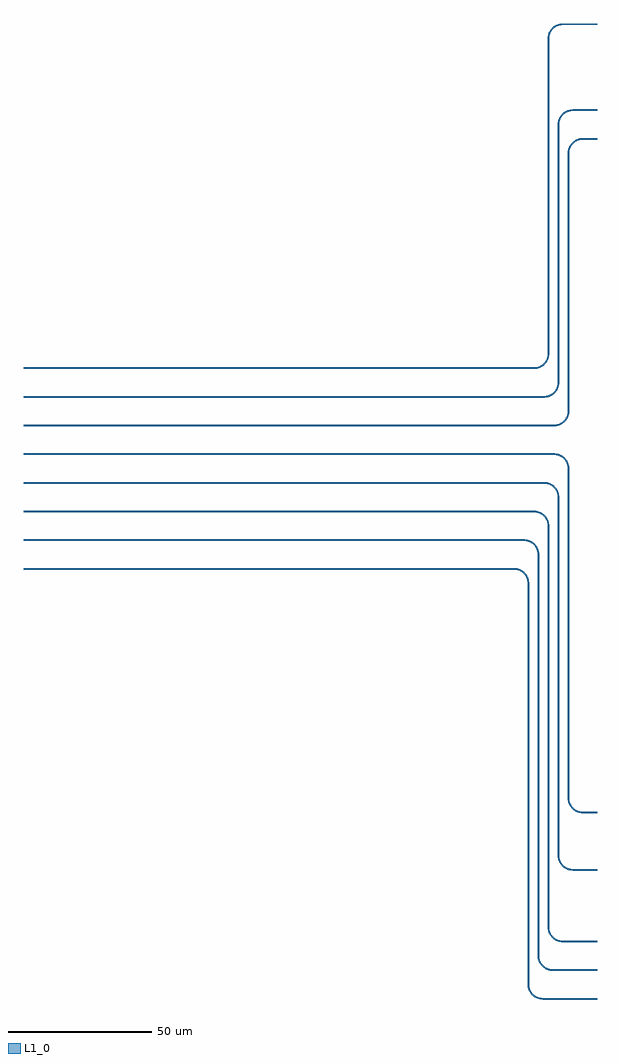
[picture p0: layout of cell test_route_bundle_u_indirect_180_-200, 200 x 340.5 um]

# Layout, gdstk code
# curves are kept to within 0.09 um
from math import pi, radians
import gdstk
lib = gdstk.Library(unit=1e-6, precision=1e-09)
def R(c, l, rs):  # rectangles x0, y0, x1, y1
    for r in rs: c.add(gdstk.rectangle(r[:2], r[2:], *l))
def P(c, l, *ps):  # polygons
    for p in ps: c.add(gdstk.Polygon(p, *l))
L1_0 = (1, 0)

bend_circular_gdsfactory = lib.new_cell('bend_circular_gdsfactorypcomponentspbendspbend_circular_0c9d0621')
P(bend_circular_gdsfactory, L1_0, [(0,-0.25),(0,0.25),(0.988,0.354),(1.932,0.661),(2.587,1.016),(3.359,1.641),(3.984,2.413),(4.339,3.068),(4.646,4.012),(4.75,5),(5.25,5),(5.135,3.908),(4.796,2.865),(4.247,1.914),(3.712,1.288),(3.086,0.753),(2.135,0.204),(1.092,-0.135)])

straight_gdsfactorypcomp = lib.new_cell('straight_gdsfactorypcomponentspwaveguidespstraight_L19__04b0d241')
R(straight_gdsfactorypcomp, L1_0, [(0,-0.25,19,0.25)])

c_straight_gdsfactorypcomp = lib.new_cell('straight_gdsfactorypcomponentspwaveguidespstraight_L140_d1a5e935')
R(c_straight_gdsfactorypcomp, L1_0, [(0,-0.25,140,0.25)])

c_straight_gdsfactorypcomp_ = lib.new_cell('straight_gdsfactorypcomponentspwaveguidespstraight_L171_7ff60cda')
R(c_straight_gdsfactorypcomp_, L1_0, [(0,-0.25,171,0.25)])

c_straight_gdsfactorypcomp__ = lib.new_cell('straight_gdsfactorypcomponentspwaveguidespstraight_L15p_a1f03c60')
R(c_straight_gdsfactorypcomp__, L1_0, [(0,-0.25,15.5,0.25)])

c_straight_gdsfactorypcomp___ = lib.new_cell('straight_gdsfactorypcomponentspwaveguidespstraight_L174_08ec315f')
R(c_straight_gdsfactorypcomp___, L1_0, [(0,-0.25,174.5,0.25)])

c_straight_gdsfactorypcomp____ = lib.new_cell('straight_gdsfactorypcomponentspwaveguidespstraight_L12__f3e780f9')
R(c_straight_gdsfactorypcomp____, L1_0, [(0,-0.25,12,0.25)])

c_straight_gdsfactorypcomp_____ = lib.new_cell('straight_gdsfactorypcomponentspwaveguidespstraight_L178_c123498b')
R(c_straight_gdsfactorypcomp_____, L1_0, [(0,-0.25,178,0.25)])

c_straight_gdsfactorypcomp______ = lib.new_cell('straight_gdsfactorypcomponentspwaveguidespstraight_L8p5_29adfe89')
R(c_straight_gdsfactorypcomp______, L1_0, [(0,-0.25,8.5,0.25)])

c_straight_gdsfactorypcomp_______ = lib.new_cell('straight_gdsfactorypcomponentspwaveguidespstraight_L125_ee2f1246')
R(c_straight_gdsfactorypcomp_______, L1_0, [(0,-0.25,125,0.25)])

c_straight_gdsfactorypcomp________ = lib.new_cell('straight_gdsfactorypcomponentspwaveguidespstraight_L181_3462eef6')
R(c_straight_gdsfactorypcomp________, L1_0, [(0,-0.25,181.5,0.25)])

c_straight_gdsfactorypcomp_________ = lib.new_cell('straight_gdsfactorypcomponentspwaveguidespstraight_L5_N_f5657628')
R(c_straight_gdsfactorypcomp_________, L1_0, [(0,-0.25,5,0.25)])

c_straight_gdsfactorypcomp__________ = lib.new_cell('straight_gdsfactorypcomponentspwaveguidespstraight_L115_c5585eed')
R(c_straight_gdsfactorypcomp__________, L1_0, [(0,-0.25,115,0.25)])

c_straight_gdsfactorypcomp___________ = lib.new_cell('straight_gdsfactorypcomponentspwaveguidespstraight_L185_0d204b83')
R(c_straight_gdsfactorypcomp___________, L1_0, [(0,-0.25,185,0.25)])

c_straight_gdsfactorypcomp____________ = lib.new_cell('straight_gdsfactorypcomponentspwaveguidespstraight_L90__0507d5f5')
R(c_straight_gdsfactorypcomp____________, L1_0, [(0,-0.25,90,0.25)])

c_straight_gdsfactorypcomp_____________ = lib.new_cell('straight_gdsfactorypcomponentspwaveguidespstraight_L110_85067713')
R(c_straight_gdsfactorypcomp_____________, L1_0, [(0,-0.25,110,0.25)])

test_route_bundle_u_indi = lib.new_cell('test_route_bundle_u_indirect_180_-200')
test_route_bundle_u_indi.add(gdstk.Reference(bend_circular_gdsfactory, (-24,-95), rotation=3*pi/2))
test_route_bundle_u_indi.add(gdstk.Reference(straight_gdsfactorypcomp, (0,-100), rotation=pi))
test_route_bundle_u_indi.add(gdstk.Reference(bend_circular_gdsfactory, (-29,50), x_reflection=True))
test_route_bundle_u_indi.add(gdstk.Reference(c_straight_gdsfactorypcomp, (-24,-95), rotation=pi/2))
test_route_bundle_u_indi.add(gdstk.Reference(c_straight_gdsfactorypcomp_, (-29,50), rotation=pi))
test_route_bundle_u_indi.add(gdstk.Reference(bend_circular_gdsfactory, (-20.5,-85), rotation=3*pi/2))
test_route_bundle_u_indi.add(gdstk.Reference(c_straight_gdsfactorypcomp__, (0,-90), rotation=pi))
test_route_bundle_u_indi.add(gdstk.Reference(bend_circular_gdsfactory, (-25.5,60), x_reflection=True))
test_route_bundle_u_indi.add(gdstk.Reference(c_straight_gdsfactorypcomp, (-20.5,-85), rotation=pi/2))
test_route_bundle_u_indi.add(gdstk.Reference(c_straight_gdsfactorypcomp___, (-25.5,60), rotation=pi))
test_route_bundle_u_indi.add(gdstk.Reference(bend_circular_gdsfactory, (-17,-75), rotation=3*pi/2))
test_route_bundle_u_indi.add(gdstk.Reference(c_straight_gdsfactorypcomp____, (0,-80), rotation=pi))
test_route_bundle_u_indi.add(gdstk.Reference(bend_circular_gdsfactory, (-22,70), x_reflection=True))
test_route_bundle_u_indi.add(gdstk.Reference(c_straight_gdsfactorypcomp, (-17,-75), rotation=pi/2))
test_route_bundle_u_indi.add(gdstk.Reference(c_straight_gdsfactorypcomp_____, (-22,70), rotation=pi))
test_route_bundle_u_indi.add(gdstk.Reference(bend_circular_gdsfactory, (-13.5,-50), rotation=3*pi/2))
test_route_bundle_u_indi.add(gdstk.Reference(c_straight_gdsfactorypcomp______, (0,-55), rotation=pi))
test_route_bundle_u_indi.add(gdstk.Reference(bend_circular_gdsfactory, (-18.5,80), x_reflection=True))
test_route_bundle_u_indi.add(gdstk.Reference(c_straight_gdsfactorypcomp_______, (-13.5,-50), rotation=pi/2))
test_route_bundle_u_indi.add(gdstk.Reference(c_straight_gdsfactorypcomp________, (-18.5,80), rotation=pi))
test_route_bundle_u_indi.add(gdstk.Reference(bend_circular_gdsfactory, (-10,-30), rotation=3*pi/2))
test_route_bundle_u_indi.add(gdstk.Reference(c_straight_gdsfactorypcomp_________, (0,-35), rotation=pi))
test_route_bundle_u_indi.add(gdstk.Reference(bend_circular_gdsfactory, (-15,90), x_reflection=True))
test_route_bundle_u_indi.add(gdstk.Reference(c_straight_gdsfactorypcomp__________, (-10,-30), rotation=pi/2))
test_route_bundle_u_indi.add(gdstk.Reference(c_straight_gdsfactorypcomp___________, (-15,90), rotation=pi))
test_route_bundle_u_indi.add(gdstk.Reference(bend_circular_gdsfactory, (-10,195), rotation=pi/2, x_reflection=True))
test_route_bundle_u_indi.add(gdstk.Reference(c_straight_gdsfactorypcomp_________, (0,200), rotation=pi))
test_route_bundle_u_indi.add(gdstk.Reference(bend_circular_gdsfactory, (-15,100)))
test_route_bundle_u_indi.add(gdstk.Reference(c_straight_gdsfactorypcomp____________, (-10,195), rotation=3*pi/2))
test_route_bundle_u_indi.add(gdstk.Reference(c_straight_gdsfactorypcomp___________, (-15,100), rotation=pi))
test_route_bundle_u_indi.add(gdstk.Reference(bend_circular_gdsfactory, (-13.5,205), rotation=pi/2, x_reflection=True))
test_route_bundle_u_indi.add(gdstk.Reference(c_straight_gdsfactorypcomp______, (0,210), rotation=pi))
test_route_bundle_u_indi.add(gdstk.Reference(bend_circular_gdsfactory, (-18.5,110)))
test_route_bundle_u_indi.add(gdstk.Reference(c_straight_gdsfactorypcomp____________, (-13.5,205), rotation=3*pi/2))
test_route_bundle_u_indi.add(gdstk.Reference(c_straight_gdsfactorypcomp________, (-18.5,110), rotation=pi))
test_route_bundle_u_indi.add(gdstk.Reference(bend_circular_gdsfactory, (-17,235), rotation=pi/2, x_reflection=True))
test_route_bundle_u_indi.add(gdstk.Reference(c_straight_gdsfactorypcomp____, (0,240), rotation=pi))
test_route_bundle_u_indi.add(gdstk.Reference(bend_circular_gdsfactory, (-22,120)))
test_route_bundle_u_indi.add(gdstk.Reference(c_straight_gdsfactorypcomp_____________, (-17,235), rotation=3*pi/2))
test_route_bundle_u_indi.add(gdstk.Reference(c_straight_gdsfactorypcomp_____, (-22,120), rotation=pi))

lib.write_gds('test_route_bundle_u_indirect_180_-200.gds')
